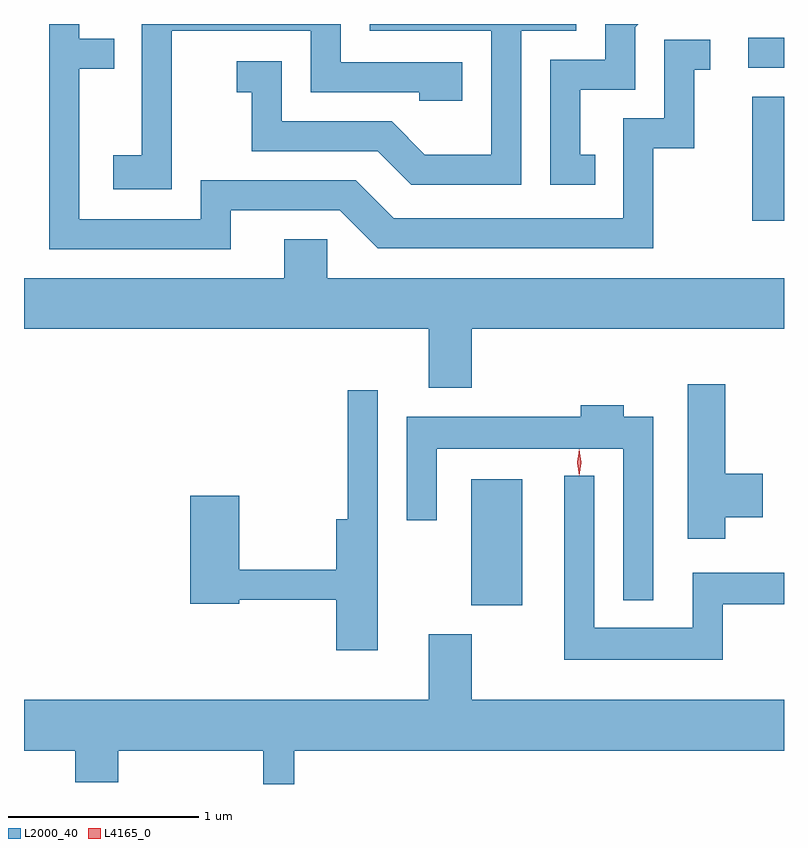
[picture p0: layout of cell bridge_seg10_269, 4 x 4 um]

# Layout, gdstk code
import gdstk
lib = gdstk.Library(unit=1e-6, precision=1e-09)
def R(c, l, rs):  # rectangles x0, y0, x1, y1
    for r in rs: c.add(gdstk.rectangle(r[:2], r[2:], *l))
def P(c, l, *ps):  # polygons
    for p in ps: c.add(gdstk.Polygon(p, *l))
L2000_40 = (2000, 40)
L4165_0 = (4165, 0)

bridge_seg10_269 = lib.new_cell('bridge_seg10_269')
R(bridge_seg10_269, L2000_40, [(1443.666,2172.401,1443.934,2173.064), (1445.146,2174.426,1445.312,2175.079), (1445.123,2175.231,1445.312,2175.389)])
P(bridge_seg10_269, L2000_40, [(1444.318,2174.774),(1444.239,2174.774),(1444.239,2175.116),(1444.529,2175.116),(1444.529,2175.444),(1444.546,2175.461),(1444.371,2175.461),(1444.371,2175.274),(1444.081,2175.274),(1444.081,2174.616),(1444.318,2174.616)],
  [(1442.399,2174.481),(1442.974,2174.481),(1443.174,2174.281),(1444.624,2174.281),(1444.624,2174.806),(1444.839,2174.806),(1444.839,2175.221),(1444.923,2175.221),(1444.923,2175.379),(1444.681,2175.379),(1444.681,2174.964),(1444.466,2174.964),(1444.466,2174.439),(1443.257,2174.439),(1443.057,2174.639),(1442.241,2174.639),(1442.241,2174.434),(1441.604,2174.434),(1441.604,2175.226),(1441.788,2175.226),(1441.788,2175.384),(1441.604,2175.384),(1441.604,2175.461),(1441.446,2175.461),(1441.446,2174.276),(1442.399,2174.276)],
  [(1442.089,2175.426),(1442.821,2175.426),(1442.821,2175.101),(1443.391,2175.101),(1443.391,2175.056),(1443.619,2175.056),(1443.619,2175.259),(1442.979,2175.259),(1442.979,2175.461),(1441.931,2175.461),(1441.931,2174.769),(1441.781,2174.769),(1441.781,2174.591),(1442.089,2174.591)],
  [(1443.929,2175.426),(1444.219,2175.426),(1444.219,2175.461),(1443.131,2175.461),(1443.131,2175.426),(1443.771,2175.426),(1443.771,2174.774),(1443.422,2174.774),(1443.247,2174.949),(1442.669,2174.949),(1442.669,2175.264),(1442.433,2175.264),(1442.433,2175.101),(1442.511,2175.101),(1442.511,2174.791),(1443.174,2174.791),(1443.349,2174.616),(1443.929,2174.616)],
  [(1443.669,2173.856),(1445.312,2173.856),(1445.312,2174.124),(1442.909,2174.124),(1442.909,2174.329),(1442.681,2174.329),(1442.681,2174.124),(1441.312,2174.124),(1441.312,2173.856),(1443.441,2173.856),(1443.441,2173.546),(1443.669,2173.546)],
  [(1445.004,2172.866),(1445.199,2172.866),(1445.199,2173.094),(1445.004,2173.094),(1445.004,2173.564),(1444.806,2173.564),(1444.806,2172.751),(1445.004,2172.751)],
  [(1443.174,2173.533),(1443.016,2173.533),(1443.016,2172.854),(1442.956,2172.854),(1442.956,2172.589),(1442.444,2172.589),(1442.444,2172.979),(1442.186,2172.979),(1442.186,2172.411),(1442.444,2172.411),(1442.444,2172.431),(1442.956,2172.431),(1442.956,2172.166),(1443.174,2172.166)],
  [(1444.624,2173.394),(1444.469,2173.394),(1444.469,2173.454),(1444.241,2173.454),(1444.241,2173.394),(1443.326,2173.394),(1443.326,2172.848),(1443.484,2172.848),(1443.484,2173.226),(1444.466,2173.226),(1444.466,2172.428),(1444.624,2172.428)],
  [(1444.989,2172.406),(1445.312,2172.406),(1445.312,2172.574),(1444.831,2172.574),(1444.831,2172.284),(1444.314,2172.284),(1444.314,2173.083),(1444.156,2173.083),(1444.156,2172.116),(1444.989,2172.116)],
  [(1442.734,2171.636),(1445.312,2171.636),(1445.312,2171.904),(1443.669,2171.904),(1443.669,2172.249),(1443.441,2172.249),(1443.441,2171.904),(1441.312,2171.904),(1441.312,2171.636),(1441.581,2171.636),(1441.581,2171.471),(1441.809,2171.471),(1441.809,2171.636),(1442.571,2171.636),(1442.571,2171.461),(1442.734,2171.461)])
P(bridge_seg10_269, L4165_0, [(1444.234,2173.084),(1444.234,2173.084),(1444.224,2173.153),(1444.234,2173.222),(1444.234,2173.223),(1444.235,2173.222),(1444.244,2173.153),(1444.235,2173.084)],
  [(1444.235,2173.087),(1444.234,2173.088),(1444.225,2173.154),(1444.234,2173.22),(1444.235,2173.22),(1444.235,2173.22),(1444.245,2173.154),(1444.235,2173.088)])

lib.write_gds('bridge_seg10_269.gds')
